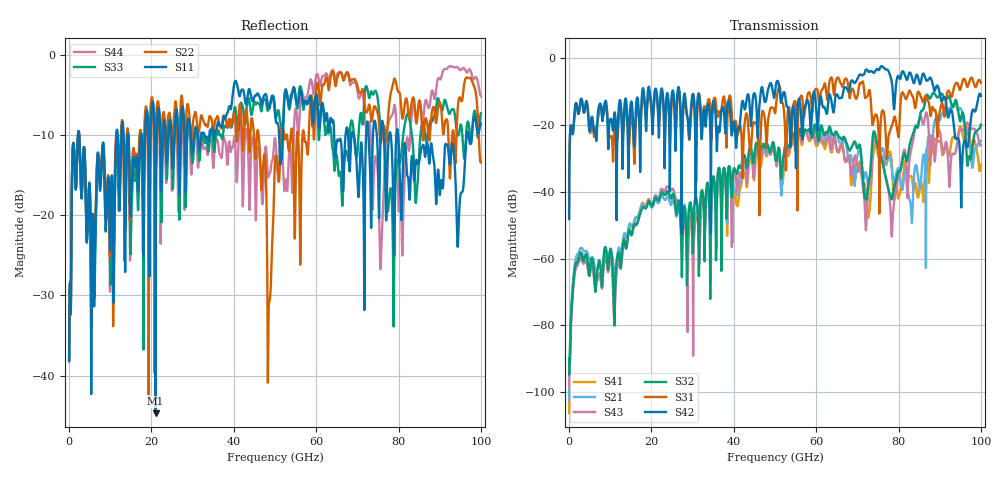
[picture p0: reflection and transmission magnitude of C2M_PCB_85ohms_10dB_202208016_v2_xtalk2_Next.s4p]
! Info: Touchstone file created by Circ.  Input file=Intel_C2M_200G_1p5in_202208016_staggered.circ
# Hz S RI R 50
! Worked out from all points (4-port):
!   10000 points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, 10 MHz to 100 GHz, reference 50 ohm
!   strongest paths, dB at 10 MHz, 25.01 GHz, 50.01 GHz, 75.01 GHz, 100 GHz:
!     S42: -48.1, -10.4, -10.3, -3.4, -11.4
!     S31: -48.3, -12.2, -16.6, -19.6, -7.5
!     S32: -94.2, -41.5, -29.6, -26.6, -20.0
!     S43: -97.7, -39.2, -27.8, -27.9, -26.0
!     S21: -102.4, -42.9, -29.7, -26.6, -24.9
!     S41: -101.0, -41.1, -28.5, -29.0, -31.9
!   lowest |S11| = -44.7 dB at 20.99 GHz (marker M1), VSWR 1.01, Z = 50.4 + j0.46 ohm
!   |S11| at or under -10 dB: 2.453 GHz to 11.49 GHz (9.038 GHz wide, 130 % of centre); 69.09 GHz to 72.12 GHz (3.03 GHz wide, 4.29 % of centre); 79.93 GHz to 96.51 GHz (16.59 GHz wide, 18.8 % of centre)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
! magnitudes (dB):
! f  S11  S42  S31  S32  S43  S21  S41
! 10 MHz  -38.1  -48.1  -48.3  -94.2  -97.7  -102.4  -101.0
! 20.99 GHz  -44.7  -9.2  -10.9  -41.7  -41.0  -42.4  -41.5
! 57.37 GHz  -5.7  -14.3  -15.0  -21.5  -21.6  -21.8  -21.8
! 78.43 GHz  -12.5  -7.8  -20.2  -42.1  -52.2  -34.3  -32.8
! 86.1 GHz  -11.3  -4.8  -13.0  -15.1  -19.8  -28.9  -42.9
! 95.29 GHz  -17.1  -40.4  -8.1  -17.3  -21.4  -15.5  -21.2
! 100 GHz  -8.5  -11.4  -7.5  -20.0  -26.0  -24.9  -31.9
